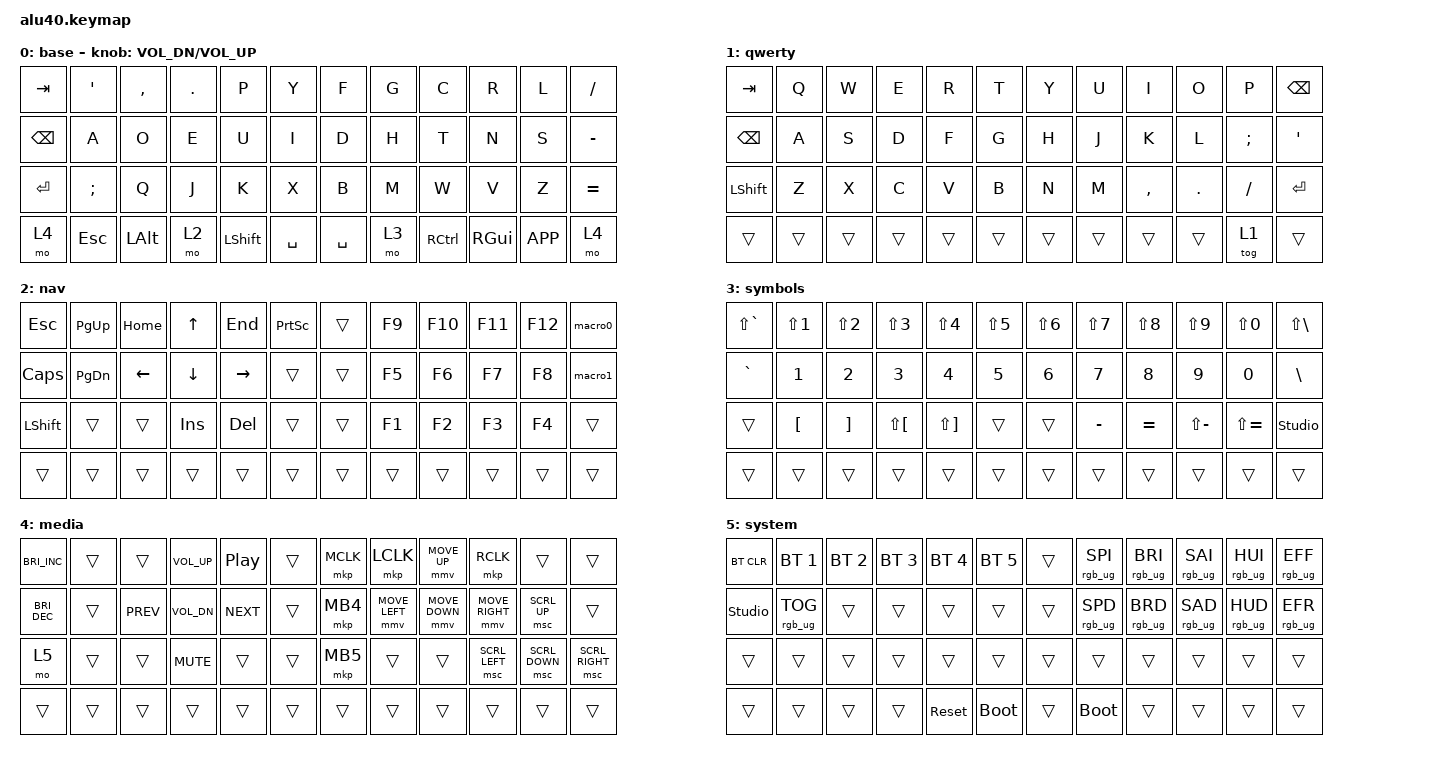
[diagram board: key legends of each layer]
/*
 * Copyright (c) 2022 The ZMK Contributors
 *
 * SPDX-License-Identifier: MIT
 */

#include <behaviors.dtsi>
#include <dt-bindings/zmk/keys.h>
#include <dt-bindings/zmk/bt.h>
#include <dt-bindings/zmk/rgb.h>
#include <dt-bindings/zmk/pointing.h>

// Personal macros live in a git-ignored file; fall back to a harmless stub when it is absent (e.g. GitHub builds).
#if __has_include("private_macros.dtsi")
#include "private_macros.dtsi"
#else
/ {
    macros {
        macro0: macro0 {
            compatible = "zmk,behavior-macro";
            #binding-cells = <0>;
            display-name = "macro0";
            bindings = <&macro_tap &none>;
        };
        macro1: macro1 {
            compatible = "zmk,behavior-macro";
            #binding-cells = <0>;
            display-name = "macro1";
            bindings = <&macro_tap &none>;
        };
    };
};
#endif

/ {
    keymap {
        compatible = "zmk,keymap";

        default_layer {
            display-name = "base";
            bindings = <
                &kp TAB   &kp SQT    &kp COMMA  &kp DOT  &kp P      &kp Y      &kp F      &kp G  &kp C      &kp R     &kp L      &kp FSLH
                &kp BSPC  &kp A      &kp O      &kp E    &kp U      &kp I      &kp D      &kp H  &kp T      &kp N     &kp S      &kp MINUS
                &kp RET   &kp SEMI   &kp Q      &kp J    &kp K      &kp X      &kp B      &kp M  &kp W      &kp V     &kp Z      &kp EQUAL
                &mo 4     &kp ESC    &kp LALT   &mo 2    &kp LSHFT  &kp SPACE  &kp SPACE  &mo 3  &kp RCTRL  &kp RGUI  &kp K_APP  &mo 4
            >;

            sensor-bindings = <&inc_dec_kp C_VOL_DN C_VOL_UP>;
        };
        qwerty {
            display-name = "qwerty";
            bindings = <
                &kp TAB      &kp Q      &kp W      &kp E      &kp R      &kp T      &kp Y      &kp U      &kp I      &kp O      &kp P         &kp BSPC
                                &kp BSPC     &kp A      &kp S      &kp D      &kp F      &kp G      &kp H      &kp J      &kp K      &kp L      &kp SEMI      &kp SQT
                &kp LSHFT    &kp Z      &kp X      &kp C      &kp V      &kp B      &kp N      &kp M      &kp COMMA  &kp DOT    &kp FSLH      &kp RET
                &trans       &trans     &trans     &trans     &trans     &trans     &trans     &trans     &trans     &trans     &tog 1        &trans
            >;
        };
        nav {
            display-name = "nav";
            bindings = <
                &kp ESC    &kp PG_UP  &kp HOME  &kp UP    &kp END    &kp PSCRN  &trans  &kp F9  &kp F10  &kp F11  &kp F12  &macro0
                &kp CAPS   &kp PG_DN  &kp LEFT  &kp DOWN  &kp RIGHT  &trans     &trans  &kp F5  &kp F6   &kp F7   &kp F8   &macro1
                &kp LSHFT  &trans     &trans    &kp INS   &kp DEL    &trans     &trans  &kp F1  &kp F2   &kp F3   &kp F4   &trans
                &trans     &trans     &trans    &trans    &trans     &trans     &trans  &trans  &trans   &trans   &trans   &trans
            >;
        };
        symbols {
            display-name = "symbols";
            bindings = <
                &kp LS(GRAVE)  &kp LS(N1)  &kp LS(N2)  &kp LS(N3)    &kp LS(N4)    &kp LS(N5)  &kp LS(N6)  &kp LS(N7)  &kp LS(N8)  &kp LS(N9)     &kp LS(N0)     &kp LS(BSLH)
                &kp GRAVE      &kp N1      &kp N2      &kp N3        &kp N4        &kp N5      &kp N6      &kp N7      &kp N8      &kp N9         &kp N0         &kp BSLH
                &trans         &kp LBKT    &kp RBKT    &kp LS(LBKT)  &kp LS(RBKT)  &trans      &trans      &kp MINUS   &kp EQUAL   &kp LS(MINUS)  &kp LS(EQUAL)  &studio_unlock
                &trans         &trans      &trans      &trans        &trans        &trans      &trans      &trans      &trans      &trans         &trans         &trans
            >;
        };
        media {
            display-name = "media";
            bindings = <
                &kp C_BRI_INC  &trans  &trans      &kp C_VOL_UP  &kp C_PP    &trans  &mkp MCLK  &mkp LCLK       &mmv MOVE_UP    &mkp RCLK        &trans         &trans
                &kp C_BRI_DEC  &trans  &kp C_PREV  &kp C_VOL_DN  &kp C_NEXT  &trans  &mkp MB4   &mmv MOVE_LEFT  &mmv MOVE_DOWN  &mmv MOVE_RIGHT  &msc SCRL_UP   &trans
                &mo 5          &trans  &trans      &kp C_MUTE    &trans      &trans  &mkp MB5   &trans          &trans          &msc SCRL_LEFT  &msc SCRL_DOWN  &msc SCRL_RIGHT
                &trans         &trans  &trans      &trans        &trans      &trans  &trans     &trans          &trans          &trans           &trans         &trans
            >;
        };
        system {
            display-name = "system";
            bindings = <
                &bt BT_CLR      &bt BT_SEL 1     &bt BT_SEL 2  &bt BT_SEL 3  &bt BT_SEL 4  &bt BT_SEL 5  &trans  &rgb_ug RGB_SPI  &rgb_ug RGB_BRI  &rgb_ug RGB_SAI  &rgb_ug RGB_HUI  &rgb_ug RGB_EFF
                &studio_unlock  &rgb_ug RGB_TOG  &trans  &trans  &trans  &trans  &trans  &rgb_ug RGB_SPD  &rgb_ug RGB_BRD  &rgb_ug RGB_SAD  &rgb_ug RGB_HUD  &rgb_ug RGB_EFR
                &trans  &trans  &trans  &trans  &trans  &trans  &trans  &trans  &trans  &trans  &trans  &trans
                &trans  &trans  &trans  &trans  &sys_reset  &bootloader  &trans  &bootloader  &trans  &trans  &trans  &trans
            >;
        };
        extra1 {
            status = "reserved";
        };
        extra2 {
            status = "reserved";
        };
        extra3 {
            status = "reserved";
        };
    };
};
